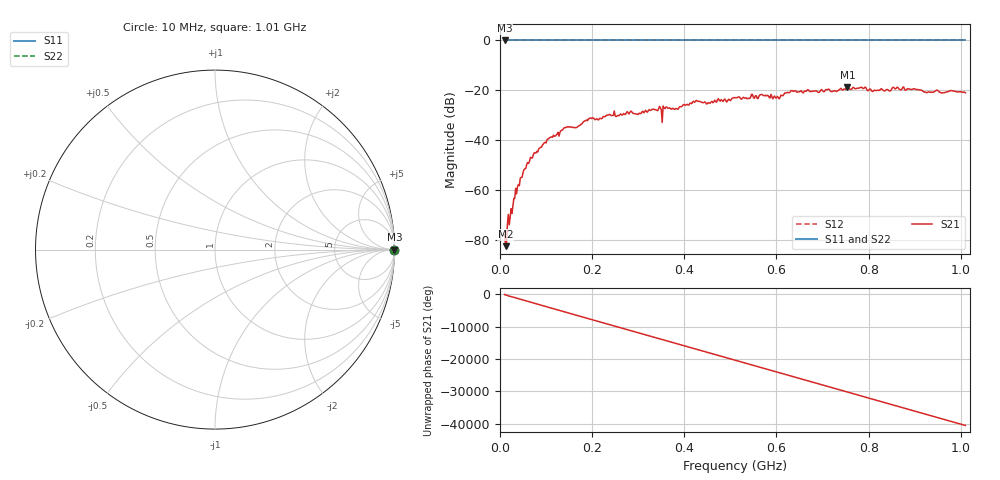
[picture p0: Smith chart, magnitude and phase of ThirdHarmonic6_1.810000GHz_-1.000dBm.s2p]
! 8/16/2025 9:55:36 PM
! C:\ANRITSUVNA\TEMP\TEMP.S2P
! CHANNEL.1
! TR.MEASUREMENT
! RAW.DATA
! RF.CORRECTION.OFF
! AVERAGING.OFF
! IF.BANDWIDTH: 5KHZ
! SWEEPTYPE:  FREQ.SWEEP(Linear)
! Reference Plane Port Info
! PORT:  PORT1  PORT2
! DISTANCE:  0  m  0  m
! TIME:  0  s  0  s
! PHASE.OFFSET:  0  deg.  0  deg.
! LOSS:  0  dB  0  dB
! REF.LOSS:  0  dB  0  dB
! REF.FREQ:  0  Hz  0  Hz
! Power Info
! POWER:  -20  dBm  -20  dBm
! EFF.POWER:  -20  dBm  -20  dBm
! SOURCE.ATTEN:  0  dB  0  dB
! TEST.ATTEN:  0  dB  0  dB
# GHZ S RI R 50.0
! FREQ.GHZ  S11RE  S11IM  S21RE  S21IM  S12RE  S12IM  S22RE  S22IM
!; PortSelection: Port_12
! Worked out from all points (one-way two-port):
!   501 points, 10 MHz to 1.01 GHz, reference 50 ohm
!   highest |S21| = -18.58 dB at 754 MHz (marker M1); lowest = -82.4 dB at 12 MHz (marker M2)
!   lowest |S11| = 0.0 dB at 10 MHz (marker M3)
!   |S11| at or under -10 dB: nowhere
!   |S22| runs from 0.0 to 0.0 dB; largest |S21 - S12| = 1.1
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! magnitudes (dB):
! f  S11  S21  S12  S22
! 10 MHz  0.0  -77.7  0.0  0.0
! 12 MHz  0.0  -82.4  0.0  0.0
! 36 MHz  0.0  -61.4  0.0  0.0
! 54 MHz  0.0  -51.4  0.0  0.0
! 70 MHz  0.0  -47.2  0.0  0.0
! 106 MHz  0.0  -39.3  0.0  0.0
! 142 MHz  0.0  -34.9  0.0  0.0
! 178 MHz  0.0  -33.3  0.0  0.0
! 198 MHz  0.0  -31.3  0.0  0.0
! 344 MHz  0.0  -27.5  0.0  0.0
! 354 MHz  0.0  -26.3  0.0  0.0
! 358 MHz  0.0  -27.3  0.0  0.0
! 424 MHz  0.0  -24.5  0.0  0.0
! 452 MHz  0.0  -24.9  0.0  0.0
! 510 MHz  0.0  -22.9  0.0  0.0
! 568 MHz  0.0  -21.6  0.0  0.0
! 602 MHz  0.0  -22.4  0.0  0.0
! 636 MHz  0.0  -20.4  0.0  0.0
! 678 MHz  0.0  -20.4  0.0  0.0
! 754 MHz  0.0  -18.6  0.0  0.0
! 844 MHz  0.0  -20.1  0.0  0.0
! 1.01 GHz  0.0  -21.0  0.0  0.0
